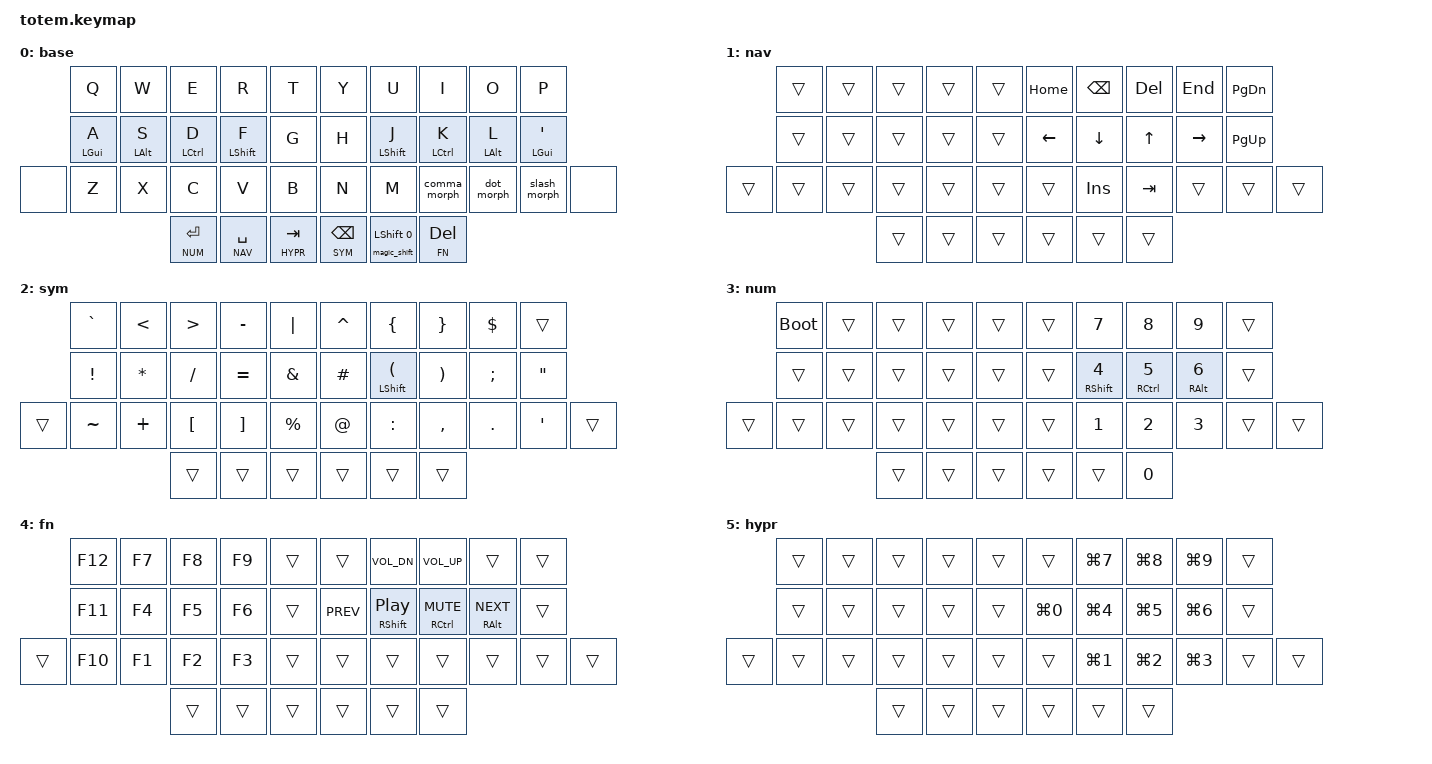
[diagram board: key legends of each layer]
// Totem keymap — mirrors urob's zmk-config structure:
// https://github.com/urob/zmk-config
//
// Layer content is a port of the cosmotyl QMK default keymap:
// qmk_firmware/keyboards/handwired/cosmotyl/keymaps/default/keymap.c

#include <behaviors.dtsi>
#include <dt-bindings/zmk/keys.h>
#include <dt-bindings/zmk/bt.h>
#include <dt-bindings/zmk/outputs.h>

#include <zmk-helpers/helper.h>
#include <zmk-helpers/key-labels/totem.h>

#define DEF  0
#define NAV  1
#define SYM  2
#define NUM  3
#define FN   4
#define HYPR 5

#define QUICK_TAP_MS 175

#define ___ &trans

&sk {
  release-after-ms = <900>;
  quick-release; // As soon as a key is pressed after sticky, release the sticky to avoid multiple keys getting, e.g., capitalized.
};

&lt {
  flavor = "balanced";
  tapping-term-ms = <200>;
  quick-tap-ms = <QUICK_TAP_MS>;
};

/* Positional homerow mods — urob parity. */
#define MAKE_HRM(NAME, HOLD, TAP, TRIGGER_POS) \
    ZMK_HOLD_TAP(NAME, \
        bindings = <HOLD>, <TAP>; \
        flavor = "balanced"; \
        tapping-term-ms = <280>; \
        quick-tap-ms = <QUICK_TAP_MS>; \
        require-prior-idle-ms = <150>; \
        hold-trigger-on-release; \
        hold-trigger-key-positions = <TRIGGER_POS>; \
    )

MAKE_HRM(hml, &kp, &kp, KEYS_R THUMBS)
MAKE_HRM(hmr, &kp, &kp, KEYS_L THUMBS)

/* Shifted-key overrides (QMK key_overrides). */
ZMK_MOD_MORPH(dot_morph,
    bindings = <&kp DOT>, <&kp QMARK>;
    mods = <(MOD_LSFT|MOD_RSFT)>;
)
ZMK_MOD_MORPH(comma_morph,
    bindings = <&kp COMMA>, <&kp EXCL>;
    mods = <(MOD_LSFT|MOD_RSFT)>;
)
ZMK_MOD_MORPH(slash_morph,
    bindings = <&kp FSLH>, <&kp BSLH>;
    mods = <(MOD_LSFT|MOD_RSFT)>;
)

/* :w<CR> */
ZMK_MACRO(vim_sv,
    bindings = <&kp ESC>, <&kp COLON>, <&kp W>, <&kp RET>;
)

/* Magic shift — right inner thumb (RH0).
 *   Hold                       → LSHFT (no require-prior-idle-ms)
 *   Tap                        → &sk LSHFT (one-shot)
 *   Shift + tap / double-tap   → caps_word
 *
 * urob's upstream version also routes "tap-after-alpha → &key_repeat" via
 * &adaptive_key, which is a urob-fork extension not present in upstream v0.3.
 */
ZMK_HOLD_TAP(magic_shift,
    bindings = <&kp>, <&magic_shift_tap>;
    flavor = "balanced";
    tapping-term-ms = <200>;
    quick-tap-ms = <QUICK_TAP_MS>;
)
ZMK_MOD_MORPH(magic_shift_tap,
    bindings = <&sk LSHFT>, <&caps_word>;
    mods = <(MOD_LSFT)>;
)
#define MAGIC_SHIFT &magic_shift LSHFT 0

/* Short aliases so long compound bindings fit in 13-char cells. */
#define SFT_LPAR  &hmr LSHFT LPAR    // sym
#define SFT_PP    &mt RSHFT C_PP     // fn
#define CTL_MUTE  &mt RCTRL C_MUTE   // fn
#define ALT_NEXT  &mt RALT C_NEXT    // fn
#define SFT_N4    &mt RSHFT N4       // num
#define CTL_N5    &mt RCTRL N5       // num
#define ALT_N6    &mt RALT N6        // num

/* Combos — positions resolved via key-labels/totem.h.
   Signature: ZMK_COMBO(name, bindings, key-positions, layers, timeout)
   Bottom row: LB5=20 LB4=21(Z) LB3=22(X) LB2=23(C) LB1=24(V) LB0=25(B)
               RB0=26(N) RB1=27(M) RB2=28(,) RB3=29(.) RB4=30(/) RB5=31 */
ZMK_COMBO(combo_esc,     &kp ESC,     LB2 LB1,     DEF, 40)   // C + V
ZMK_COMBO(combo_caps,    &caps_word,  LB2 RB2,     DEF, 50)   // C + ,
ZMK_COMBO(combo_vim_sv,  &vim_sv,     RB1 RB2 RB3, DEF, 60)   // M + , + .


ZMK_LAYER(base,
//              ╭─────────────┬─────────────┬─────────────┬─────────────┬─────────────╮ ╭─────────────┬─────────────┬─────────────┬─────────────┬─────────────╮
                  &kp Q         &kp W         &kp E         &kp R         &kp T           &kp Y         &kp U         &kp I         &kp O         &kp P
//              ├─────────────┼─────────────┼─────────────┼─────────────┼─────────────┤ ├─────────────┼─────────────┼─────────────┼─────────────┼─────────────┤
                  &hml LGUI A   &hml LALT S   &hml LCTRL D  &hml LSHFT F  &kp G           &kp H         &hmr LSHFT J  &hmr LCTRL K  &hmr LALT L   &hmr LGUI SQT
//╭─────────────┼─────────────┼─────────────┼─────────────┼─────────────┼─────────────┤ ├─────────────┼─────────────┼─────────────┼─────────────┼─────────────┼─────────────╮
    &none         &kp Z         &kp X         &kp C         &kp V         &kp B           &kp N         &kp M         &comma_morph  &dot_morph    &slash_morph  &none
//╰─────────────┴─────────────┴─────────────┼─────────────┼─────────────┼─────────────┤ ├─────────────┼─────────────┼─────────────┴─────────────┴─────────────┴─────────────╯
                                              &lt NUM RET   &lt NAV SPACE &lt HYPR TAB    &lt SYM BSPC  MAGIC_SHIFT   &lt FN DEL
//                                          ╰─────────────┴─────────────┴─────────────╯ ╰─────────────┴─────────────┴─────────────╯
)

ZMK_LAYER(nav,
//              ╭─────────────┬─────────────┬─────────────┬─────────────┬─────────────╮ ╭─────────────┬─────────────┬─────────────┬─────────────┬─────────────╮
                  ___           ___           ___           ___           ___             &kp HOME      &kp BSPC      &kp DEL       &kp END       &kp PG_DN
//              ├─────────────┼─────────────┼─────────────┼─────────────┼─────────────┤ ├─────────────┼─────────────┼─────────────┼─────────────┼─────────────┤
                  ___           ___           ___           ___           ___             &kp LEFT      &kp DOWN      &kp UP        &kp RIGHT     &kp PG_UP
//╭─────────────┼─────────────┼─────────────┼─────────────┼─────────────┼─────────────┤ ├─────────────┼─────────────┼─────────────┼─────────────┼─────────────┼─────────────╮
    ___           ___           ___           ___           ___           ___             ___           &kp INS       &kp TAB       ___           ___           ___
//╰─────────────┴─────────────┴─────────────┼─────────────┼─────────────┼─────────────┤ ├─────────────┼─────────────┼─────────────┴─────────────┴─────────────┴─────────────╯
                                              ___           ___           ___             ___           ___           ___
//                                          ╰─────────────┴─────────────┴─────────────╯ ╰─────────────┴─────────────┴─────────────╯
)

ZMK_LAYER(sym,
//              ╭─────────────┬─────────────┬─────────────┬─────────────┬─────────────╮ ╭─────────────┬─────────────┬─────────────┬─────────────┬─────────────╮
                  &kp GRAVE     &kp LT        &kp GT        &kp MINUS     &kp PIPE        &kp CARET     &kp LBRC      &kp RBRC      &kp DLLR      ___
//              ├─────────────┼─────────────┼─────────────┼─────────────┼─────────────┤ ├─────────────┼─────────────┼─────────────┼─────────────┼─────────────┤
                  &kp EXCL      &kp ASTRK     &kp FSLH      &kp EQUAL     &kp AMPS        &kp HASH      SFT_LPAR      &kp RPAR      &kp SEMI      &kp DQT
//╭─────────────┼─────────────┼─────────────┼─────────────┼─────────────┼─────────────┤ ├─────────────┼─────────────┼─────────────┼─────────────┼─────────────┼─────────────╮
    ___           &kp TILDE     &kp PLUS      &kp LBKT      &kp RBKT      &kp PRCNT       &kp AT        &kp COLON     &kp COMMA     &kp DOT       &kp SQT       ___
//╰─────────────┴─────────────┴─────────────┼─────────────┼─────────────┼─────────────┤ ├─────────────┼─────────────┼─────────────┴─────────────┴─────────────┴─────────────╯
                                              ___           ___           ___             ___           ___           ___
//                                          ╰─────────────┴─────────────┴─────────────╯ ╰─────────────┴─────────────┴─────────────╯
)

ZMK_LAYER(num,
//              ╭─────────────┬─────────────┬─────────────┬─────────────┬─────────────╮ ╭─────────────┬─────────────┬─────────────┬─────────────┬─────────────╮
                  &bootloader   ___           ___           ___           ___             ___           &kp N7        &kp N8        &kp N9        ___
//              ├─────────────┼─────────────┼─────────────┼─────────────┼─────────────┤ ├─────────────┼─────────────┼─────────────┼─────────────┼─────────────┤
                  ___           ___           ___           ___           ___             ___           SFT_N4        CTL_N5        ALT_N6        ___
//╭─────────────┼─────────────┼─────────────┼─────────────┼─────────────┼─────────────┤ ├─────────────┼─────────────┼─────────────┼─────────────┼─────────────┼─────────────╮
    ___           ___           ___           ___           ___           ___             ___           &kp N1        &kp N2        &kp N3        ___           ___
//╰─────────────┴─────────────┴─────────────┼─────────────┼─────────────┼─────────────┤ ├─────────────┼─────────────┼─────────────┴─────────────┴─────────────┴─────────────╯
                                              ___           ___           ___             ___           ___           &kp N0
//                                          ╰─────────────┴─────────────┴─────────────╯ ╰─────────────┴─────────────┴─────────────╯
)

ZMK_LAYER(fn,
//              ╭─────────────┬─────────────┬─────────────┬─────────────┬─────────────╮ ╭─────────────┬─────────────┬─────────────┬─────────────┬─────────────╮
                  &kp F12       &kp F7        &kp F8        &kp F9        ___             ___           &kp C_VOL_DN  &kp C_VOL_UP  ___           ___
//              ├─────────────┼─────────────┼─────────────┼─────────────┼─────────────┤ ├─────────────┼─────────────┼─────────────┼─────────────┼─────────────┤
                  &kp F11       &kp F4        &kp F5        &kp F6        ___             &kp C_PREV    SFT_PP        CTL_MUTE      ALT_NEXT      ___
//╭─────────────┼─────────────┼─────────────┼─────────────┼─────────────┼─────────────┤ ├─────────────┼─────────────┼─────────────┼─────────────┼─────────────┼─────────────╮
    ___           &kp F10       &kp F1        &kp F2        &kp F3        ___             ___           ___           ___           ___           ___           ___
//╰─────────────┴─────────────┴─────────────┼─────────────┼─────────────┼─────────────┤ ├─────────────┼─────────────┼─────────────┴─────────────┴─────────────┴─────────────╯
                                              ___           ___           ___             ___           ___           ___
//                                          ╰─────────────┴─────────────┴─────────────╯ ╰─────────────┴─────────────┴─────────────╯
)

/* QMK's LM(HYPR, LGUI) held LGUI while on the layer; ZMK has no direct
   equivalent, so each key bakes LGUI in. */
ZMK_LAYER(hypr,
//              ╭─────────────┬─────────────┬─────────────┬─────────────┬─────────────╮ ╭─────────────┬─────────────┬─────────────┬─────────────┬─────────────╮
                  ___           ___           ___           ___           ___             ___           &kp LG(N7)    &kp LG(N8)    &kp LG(N9)    ___
//              ├─────────────┼─────────────┼─────────────┼─────────────┼─────────────┤ ├─────────────┼─────────────┼─────────────┼─────────────┼─────────────┤
                  ___           ___           ___           ___           ___             &kp LG(N0)    &kp LG(N4)    &kp LG(N5)    &kp LG(N6)    ___
//╭─────────────┼─────────────┼─────────────┼─────────────┼─────────────┼─────────────┤ ├─────────────┼─────────────┼─────────────┼─────────────┼─────────────┼─────────────╮
    ___           ___           ___           ___           ___           ___             ___           &kp LG(N1)    &kp LG(N2)    &kp LG(N3)    ___           ___
//╰─────────────┴─────────────┴─────────────┼─────────────┼─────────────┼─────────────┤ ├─────────────┼─────────────┼─────────────┴─────────────┴─────────────┴─────────────╯
                                              ___           ___           ___             ___           ___           ___
//                                          ╰─────────────┴─────────────┴─────────────╯ ╰─────────────┴─────────────┴─────────────╯
)
